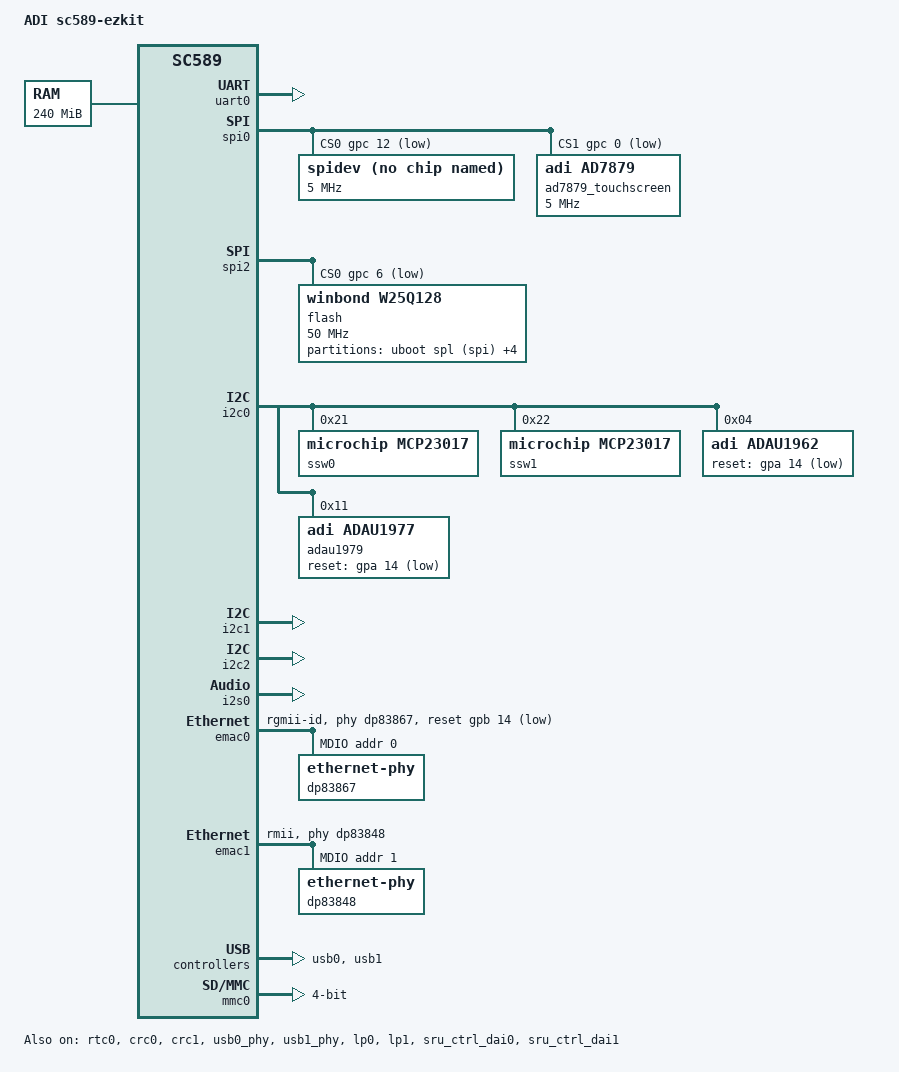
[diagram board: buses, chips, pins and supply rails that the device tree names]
/*
 * Device tree for ADI sc589-ezkit board
 *
 * Copyright 2014 - 2018 Analog Devices Inc.
 *
 * Licensed under the GPL-2 or later.
 *
 */

/dts-v1/;

#include <dt-bindings/gpio/gpio.h>
#include <dt-bindings/net/ti-dp83867.h>
#include <dt-bindings/pinctrl/adi-adsp.h>
#include <dt-bindings/pinctrl/adi-adsp-sru.h>
#include "sc58x.dtsi"

/ {
	model = "ADI sc589-ezkit";
	compatible = "adi,sc589-ezkit", "adi,sc58x";

	aliases {
	};

	memory@C3000000 {
		device_type = "memory";
		reg = <0xC3000000 0xF000000>;
	};

	reserved-memory {
		vdev0vrings: vdev0vring0@200A0000 {
			reg = <0x200A0000 0x4000>;
			no-map;
		};

		vdev0buffer: vdev0buffer@200A4000 {
			compatible = "shared-dma-pool";
			reg = <0x200A4000 0xC000>;
			no-map;
		};

		vdev1vrings: vdev0vring0@200B0000 {
			reg = <0x200B0000 0x4000>;
			no-map;
		};

		vdev1buffer: vdev0buffer@200B4000 {
			compatible = "shared-dma-pool";
			reg = <0x200B4000 0xC000>;
			no-map;
		};
	};

	scb {
		button0: button@0 {
			compatible = "adi,button-led";
			button_gpio = <80>;
			led_gpio = <77>;
		};

		button1: button@1 {
			compatible = "adi,button-led";
			button_gpio = <81>;
			led_gpio = <78>;
		};

		core1-rproc@0x28240000 {
			compatible = "adi,remoteproc";
			reg = <0x28240000 0x160000>,
					<0x20080000 0x40000>;
			core-id = <1>;
			core-irq = <76>;
			firmware-name = "adi_adsp_core1_fw.ldr";
			interrupts = <GIC_SPI 251 IRQ_TYPE_EDGE_RISING>;
			adi,rcu = <&rcu>;
			adi,l1-da = <0x240000 0x3a0000>;
			adi,l2-da = <0x20080000 0x200C0000>;
			adi,rsc-table = <&rsc_tbl0>;
			adi,tru = <&tru>;
			adi,tru-master-id = <97>; /* trigger master SOFT4 */
		};

		core2-rproc@0x28a40000 {
			compatible = "adi,remoteproc";
			reg = <0x28a40000 0x160000>,
					<0x20080000 0x40000>;
			core-id = <2>;
			core-irq = <77>;
			firmware-name = "adi_adsp_core2_fw.ldr";
			interrupts = <GIC_SPI 251 IRQ_TYPE_EDGE_RISING>;
			adi,rcu = <&rcu>;
			adi,l1-da = <0x240000 0x3a0000>;
			adi,l2-da = <0x20080000 0x200C0000>;
			adi,rsc-table = <&rsc_tbl1>;
			adi,tru = <&tru>;
			adi,tru-master-id = <98>; /* trigger master SOFT5 */
		};

		sound {
			compatible = "adi,sc5xx-asoc-card";
			adi,cpu-dai = <&i2s0>;
			adi,codec = <&adau1962>, <&adau1979>;
		};

	};
};

&uart0 {
	pinctrl-names = "default";
	pinctrl-0 = <&uart0_default>;
	status = "okay";
};

&rtc0 {
	status = "okay";
};

&spi0 {
	pinctrl-names = "default";
	pinctrl-0 = <&spi0_default>;
	status = "okay";

	cs-gpios = <&gpc 12 GPIO_ACTIVE_LOW>,
				<&gpc 0 GPIO_ACTIVE_LOW>;

	spidev@0 {
		#address-cells = <1>;
		#size-cells = <1>;
		compatible = "rohm,dh2228fv";
		spi-max-frequency = <5000000>;
		reg = <0>;
	};

	ad7879_touchscreen@1 {
		#address-cells = <1>;
		#size-cells = <1>;
		compatible = "adi,ad7879";
		spi-max-frequency = <5000000>;
		reg = <1>;
		gpio = <88>;
		gpio-controller;
		spi-cpha;
		spi-cpol;
		touchscreen-max-pressure = <10000>;
		adi,resistance-plate-x = <620>;
		adi,first-conversion-delay = /bits/ 8 <3>;
		adi,acquisition-time = /bits/ 8 <1>;
		adi,median-filter-size = /bits/ 8 <2>;
		adi,averaging = /bits/ 8 <1>;
		adi,conversion-interval = /bits/ 8 <255>;
	};
};

&spi2 {
	pinctrl-names = "default";
	pinctrl-0 = <&spi2_quad>;
	status = "okay";
	cs-gpios = <&gpc 6 GPIO_ACTIVE_LOW>;

	flash: w25q128@0 {
		#address-cells = <1>;
		#size-cells = <1>;
		compatible = "winbond,w25q128";
		spi-max-frequency = <50000000>;
		reg = <0>;
		spi-cpol;
		spi-cpha;
		spi-tx-bus-width = <4>;
		spi-rx-bus-width = <4>;

		partition@0 {
			label = "uboot spl (spi)";
			reg = <0x0 0x20000>;
		};

		partition@1 {
			label = "uboot proper (spi)";
			reg = <0x20000 0xb0000>;
		};

		partition@2 {
			label = "uboot env";
			reg = <0xd0000 0x10000>;
		};

		partition@3 {
			label = "kernel (spi)";
			reg = <0x00e0000 0x0600000>;
		};

		partition@4 {
			label = "root file system (spi)";
			reg = <0x06e0000 0x0920000>;
		};
	};
};

&i2c0 {
	status = "okay";
	ssw0: gpio@0x21 {
		compatible = "microchip,mcp23017";
		gpio-controller;
		#gpio-cells = <2>;
		reg = <0x21>;

		eeprom {
			gpio-hog;
			gpios = <0 0x0>;
			output-high;
			line-name = "~eeprom-en";
		};

		uart0-flow-en {
			gpio-hog;
			gpios = <1 0x0>;
			output-high;
			line-name = "~uart0-flow-en";
		};

		uart0-en {
			gpio-hog;
			gpios = <2 0x0>;
			output-low;
			line-name = "~uart0-en";
		};

		eth0 {
			gpio-hog;
			gpios = <3 0x0>;
			output-low;
			line-name = "~eth0-en";
		};

		eth1 {
			gpio-hog;
			gpios = <4 0x0>;
			output-low;
			line-name = "~eth1-en";
		};

		mlb {
			gpio-hog;
			gpios = <5 0x0>;
			output-high;
			line-name = "~mlb-en";
		};

		can0 {
			gpio-hog;
			gpios = <6 0x0>;
			output-high;
			line-name = "~can0-en";
		};

		can1 {
			gpio-hog;
			gpios = <7 0x0>;
			output-high;
			line-name = "~can1-en";
		};

		adau1962 {
			gpio-hog;
			gpios = <8 0x0>;
			output-low;
			line-name = "~adau1962-en";
		};

		adau1979 {
			gpio-hog;
			gpios = <9 0x0>;
			output-low;
			line-name = "~adau1979-en";
		};

		sd_wp {
			gpio-hog;
			gpios = <11 0x0>;
			output-high;
			line-name = "~sd-wp-en";
		};

		spi2d2-d3 {
			gpio-hog;
			gpios = <12 0x0>;
			output-low;
			line-name = "~spi2d2-d3-en";
		};

		spi2flash-cs {
			gpio-hog;
			gpios = <13 0x0>;
			output-low;
			line-name = "~spi2flash-cs";
		};

		spdif-opt {
			gpio-hog;
			gpios = <14 0x0>;
			output-high;
			line-name = "~spdif-optical-en";
		};

		spdif-dig {
			gpio-hog;
			gpios = <15 0x0>;
			output-high;
			line-name = "~spdif-digital-en";
		};
	};

	ssw1: gpio@0x22 {
		compatible = "microchip,mcp23017";
		gpio-controller;
		#gpio-cells = <2>;
		reg = <0x22>;

		pushbutton1 {
			gpio-hog;
			gpios = <0 0x0>;
			output-low;
			line-name = "~pushbutton1-en";
		};

		pushbutton2 {
			gpio-hog;
			gpios = <1 0x0>;
			output-low;
			line-name = "~pushbutton2-en";
		};

		led10 {
			gpio-hog;
			gpios = <2 0x0>;
			output-low;
			line-name = "~led10-en";
		};

		led11 {
			gpio-hog;
			gpios = <3 0x0>;
			output-low;
			line-name = "~led11-en";
		};

		led12 {
			gpio-hog;
			gpios = <4 0x0>;
			output-low;
			line-name = "~led12-en";
		};
	};

	/*
	   ADAU1962 and ADAU1977 race to use gpa_14, as it is shared.
	   Whoever probes first will claim the GPIO and perform the
	   reset.  The respective drivers have duplicated logic for
	   reset_gpio -- so that whichever starts first can reset the
	   devices
	*/
	adau1962: adau1962@0x4 {
		compatible = "adi,adau1962";
		reg = <0x4>;
		reset-gpios = <&gpa 14 1>;
	};

	adau1979: adau1979@0x11 {
		compatible = "adi,adau1977";
		reg = <0x11>;
		reset-gpios = <&gpa 14 1>;
	};
};

&i2c1 {
	status = "okay";
};

&i2c2 {
	status = "okay";
};

&i2s0 {
	pinctrl-names = "default";
	pinctrl-0 = <&sru_dai1>;
	status = "okay";
};

&crc0 {
	status = "okay";
};

&crc1 {
	status = "okay";
};

&can0 {
	pinctrl-names = "default";
	pinctrl-0 = <&can0_default>;
	phy-name = "tja1055";
	phy-gpios = <&gpb 8 0>,		/* en PB8 */
		    <&gpb 2 0x1>;	/* stb PB2, GPIO_ACTIVE_LOW */
	status = "disabled";
};

&can1 {
	pinctrl-names = "default";
	pinctrl-0 = <&can1_default>;
	phy-name = "tja1145";
	phy-spibus = /bits/ 16 <0>;
	phy-spiclk = <1000000>;
	phy-spics = /bits/ 16 <44>;	/* GPIO_PC12 */
	status = "disabled";
};

&emac0 {
	snps,reset-gpio = <&gpb 14 0>;
	snps,reset-active-low;
	snps,reset-delays-us = <0 200 500>;
	phy-handle = <&dp83867>;
	phy-mode = "rgmii-id";
	pinctrl-names = "default";
	pinctrl-0 = <&eth0_default>;
	status = "okay";
	mdio0 {
		compatible = "snps,dwmac-mdio";
		#address-cells = <1>;
		#size-cells = <0>;
		dp83867: ethernet-phy@0 {
			reg = <0>;
			ti,rx-internal-delay = <DP83867_RGMIIDCTL_2_00_NS>;
			ti,tx-internal-delay = <DP83867_RGMIIDCTL_2_00_NS>;
			ti,fifo-depth = <DP83867_PHYCR_FIFO_DEPTH_8_B_NIB>;
			ti,dp83867-rxctrl-strap-quirk;
		};
	};
};

&emac1 {
	phy-handle = <&dp83848>;
	phy-mode = "rmii";
	pinctrl-names = "default";
	pinctrl-0 = <&eth1_default>;
	status = "okay";

	mdio1 {
		compatible = "snps,dwmac-mdio";
		#address-cells = <1>;
		#size-cells = <0>;
		dp83848: ethernet-phy@1 {
			reg = <1>;
		};
	};

};

&usb0_phy {
	status = "okay";
};

&usb0 {
	/* mode = <2>; Place OTG port into Device Mode */
	/* mode = <1>; Place OTG port into Host Mode */
	mode = <1>;
	status = "okay";
};

&usb1_phy {
	status = "okay";
};

&usb1 {
	mode = <2>; /* Device port */
	status = "okay";
};

&mmc0 {
	/* Do not use wp-en-pin, as this causes a conflict between PC15+ETH0_MD_INT+SD_WP */
	/* wp-en-pin = <&ssw0 11 GPIO_ACTIVE_LOW>;	 SD_WP_EN */
	bus-width = <4>;
	pinctrl-names = "default";
	pinctrl-0 = <&mmc0_8bgrp>;
	supports-highspeed;
	status = "okay";
};

/*
&video_decoder {
	pinctrl-names = "8bit", "16bit", "24bit";
	pinctrl-0 = <&ppi0_8b>;
	pinctrl-1 = <&ppi0_16b>;
	pinctrl-2 = <&ppi0_24b>;
	status = "okay";
};

&video_encoder {
	pinctrl-names = "8bit", "16bit", "24bit";
	pinctrl-0 = <&ppi0_8b>;
	pinctrl-1 = <&ppi0_16b>;
	pinctrl-2 = <&ppi0_24b>;
	status = "okay";
};
*/

&lp0 {
	pinctrl-names = "default";
	pinctrl-0 = <&lp0_default>;
	status = "okay";
};

&lp1 {
	pinctrl-names = "default";
	pinctrl-0 = <&lp1_default>;
	status = "okay";
};

&sram_mmap {
	status = "okay";
};

&pinctrl0 {
	uart0_default: uart0_default_pins {
		pins {
			pinmux = <ADI_ADSP_PINMUX('C', 13, ADI_ADSP_PINFUNC_ALT0)>,
					 <ADI_ADSP_PINMUX('C', 14, ADI_ADSP_PINFUNC_ALT0)>;
		};
	};
	uart0_hwflow: uart0_hwflow_pins {
		pins {
			pinmux = <ADI_ADSP_PINMUX('C', 13, ADI_ADSP_PINFUNC_ALT0)>,
					 <ADI_ADSP_PINMUX('C', 14, ADI_ADSP_PINFUNC_ALT0)>,
					 <ADI_ADSP_PINMUX('C', 15, ADI_ADSP_PINFUNC_ALT0)>,
					 <ADI_ADSP_PINMUX('D', 0, ADI_ADSP_PINFUNC_ALT0)>;
		};
	};
	spi0_default: spi0_default_pins {
		pins {
			pinmux = <ADI_ADSP_PINMUX('C', 9, ADI_ADSP_PINFUNC_ALT0)>,
				 <ADI_ADSP_PINMUX('C', 10, ADI_ADSP_PINFUNC_ALT0)>,
					 <ADI_ADSP_PINMUX('C', 11, ADI_ADSP_PINFUNC_ALT0)>;
		};
	};
	spi1_default: spi1_default_pins {
		pins {
			pinmux = <ADI_ADSP_PINMUX('E', 13, ADI_ADSP_PINFUNC_ALT0)>,
				 <ADI_ADSP_PINMUX('E', 14, ADI_ADSP_PINFUNC_ALT0)>,
					 <ADI_ADSP_PINMUX('E', 15, ADI_ADSP_PINFUNC_ALT0)>;
		};
	};
	spi2_quad: spi2_quad_pins {
		pins {
			pinmux = <ADI_ADSP_PINMUX('C', 1, ADI_ADSP_PINFUNC_ALT0)>,
				 <ADI_ADSP_PINMUX('C', 2, ADI_ADSP_PINFUNC_ALT0)>,
				 <ADI_ADSP_PINMUX('C', 3, ADI_ADSP_PINFUNC_ALT0)>,
				 <ADI_ADSP_PINMUX('C', 4, ADI_ADSP_PINFUNC_ALT0)>,
				 <ADI_ADSP_PINMUX('C', 5, ADI_ADSP_PINFUNC_ALT0)>;
		};
	};
	eth0_default: eth0_default_pins {
		pins {
			pinmux = <ADI_ADSP_PINMUX('A', 0, ADI_ADSP_PINFUNC_ALT0)>,
				 <ADI_ADSP_PINMUX('A', 1, ADI_ADSP_PINFUNC_ALT0)>,
				 <ADI_ADSP_PINMUX('A', 2, ADI_ADSP_PINFUNC_ALT0)>,
				 <ADI_ADSP_PINMUX('A', 3, ADI_ADSP_PINFUNC_ALT0)>,
				 <ADI_ADSP_PINMUX('A', 4, ADI_ADSP_PINFUNC_ALT0)>,
				 <ADI_ADSP_PINMUX('A', 5, ADI_ADSP_PINFUNC_ALT0)>,
				 <ADI_ADSP_PINMUX('A', 6, ADI_ADSP_PINFUNC_ALT0)>,
				 <ADI_ADSP_PINMUX('A', 7, ADI_ADSP_PINFUNC_ALT0)>,
				 <ADI_ADSP_PINMUX('A', 8, ADI_ADSP_PINFUNC_ALT0)>,
				 <ADI_ADSP_PINMUX('A', 9, ADI_ADSP_PINFUNC_ALT0)>,
				 <ADI_ADSP_PINMUX('A', 10, ADI_ADSP_PINFUNC_ALT0)>,
				 <ADI_ADSP_PINMUX('A', 11, ADI_ADSP_PINFUNC_ALT0)>,
				 <ADI_ADSP_PINMUX('A', 12, ADI_ADSP_PINFUNC_ALT0)>,
				 <ADI_ADSP_PINMUX('A', 13, ADI_ADSP_PINFUNC_ALT0)>;
		};
	};
	mmc0_8bgrp: mmc0_8bgrp_pins {
		pins {
			pinmux = <ADI_ADSP_PINMUX('F', 2, ADI_ADSP_PINFUNC_ALT0)>,
				 <ADI_ADSP_PINMUX('F', 3, ADI_ADSP_PINFUNC_ALT0)>,
				 <ADI_ADSP_PINMUX('F', 4, ADI_ADSP_PINFUNC_ALT0)>,
				 <ADI_ADSP_PINMUX('F', 5, ADI_ADSP_PINFUNC_ALT0)>,
				 <ADI_ADSP_PINMUX('F', 6, ADI_ADSP_PINFUNC_ALT0)>,
					 <ADI_ADSP_PINMUX('F', 7, ADI_ADSP_PINFUNC_ALT0)>,
					 <ADI_ADSP_PINMUX('F', 8, ADI_ADSP_PINFUNC_ALT0)>,
					 <ADI_ADSP_PINMUX('F', 9, ADI_ADSP_PINFUNC_ALT0)>,
					 <ADI_ADSP_PINMUX('F', 10, ADI_ADSP_PINFUNC_ALT0)>,
					 <ADI_ADSP_PINMUX('F', 11, ADI_ADSP_PINFUNC_ALT0)>,
					 <ADI_ADSP_PINMUX('F', 12, ADI_ADSP_PINFUNC_ALT0)>;
		};
	};
	ppi0_8b: ppi0_8b_pins {
		pins {
			pinmux = <ADI_ADSP_PINMUX('E', 1, ADI_ADSP_PINFUNC_ALT0)>,
				 <ADI_ADSP_PINMUX('E', 2, ADI_ADSP_PINFUNC_ALT0)>,
				 <ADI_ADSP_PINMUX('E', 3, ADI_ADSP_PINFUNC_ALT0)>,
				 <ADI_ADSP_PINMUX('C', 15, ADI_ADSP_PINFUNC_ALT1)>,
				 <ADI_ADSP_PINMUX('E', 12, ADI_ADSP_PINFUNC_ALT0)>,
				 <ADI_ADSP_PINMUX('E', 11, ADI_ADSP_PINFUNC_ALT0)>,
				 <ADI_ADSP_PINMUX('E', 10, ADI_ADSP_PINFUNC_ALT0)>,
				 <ADI_ADSP_PINMUX('E', 9, ADI_ADSP_PINFUNC_ALT0)>,
				 <ADI_ADSP_PINMUX('E', 8, ADI_ADSP_PINFUNC_ALT0)>,
				 <ADI_ADSP_PINMUX('E', 7, ADI_ADSP_PINFUNC_ALT0)>,
				 <ADI_ADSP_PINMUX('E', 6, ADI_ADSP_PINFUNC_ALT0)>,
				 <ADI_ADSP_PINMUX('E', 5, ADI_ADSP_PINFUNC_ALT0)>;
		};
	};
	ppi0_16b: ppi0_16b_pins {
		pins {
			pinmux = <ADI_ADSP_PINMUX('E', 1, ADI_ADSP_PINFUNC_ALT0)>,
				 <ADI_ADSP_PINMUX('E', 2, ADI_ADSP_PINFUNC_ALT0)>,
				 <ADI_ADSP_PINMUX('E', 3, ADI_ADSP_PINFUNC_ALT0)>,
				 <ADI_ADSP_PINMUX('C', 15, ADI_ADSP_PINFUNC_ALT1)>,
				 <ADI_ADSP_PINMUX('E', 12, ADI_ADSP_PINFUNC_ALT0)>,
				 <ADI_ADSP_PINMUX('E', 11, ADI_ADSP_PINFUNC_ALT0)>,
				 <ADI_ADSP_PINMUX('E', 10, ADI_ADSP_PINFUNC_ALT0)>,
				 <ADI_ADSP_PINMUX('E', 9, ADI_ADSP_PINFUNC_ALT0)>,
				 <ADI_ADSP_PINMUX('E', 8, ADI_ADSP_PINFUNC_ALT0)>,
				 <ADI_ADSP_PINMUX('E', 7, ADI_ADSP_PINFUNC_ALT0)>,
				 <ADI_ADSP_PINMUX('E', 6, ADI_ADSP_PINFUNC_ALT0)>,
				 <ADI_ADSP_PINMUX('E', 5, ADI_ADSP_PINFUNC_ALT0)>,
				 <ADI_ADSP_PINMUX('E', 4, ADI_ADSP_PINFUNC_ALT0)>,
				 <ADI_ADSP_PINMUX('E', 0, ADI_ADSP_PINFUNC_ALT0)>,
				 <ADI_ADSP_PINMUX('D', 15, ADI_ADSP_PINFUNC_ALT0)>,
				 <ADI_ADSP_PINMUX('D', 14, ADI_ADSP_PINFUNC_ALT0)>,
				 <ADI_ADSP_PINMUX('B', 4, ADI_ADSP_PINFUNC_ALT2)>,
				 <ADI_ADSP_PINMUX('B', 5, ADI_ADSP_PINFUNC_ALT2)>,
				 <ADI_ADSP_PINMUX('B', 0, ADI_ADSP_PINFUNC_ALT2)>,
				 <ADI_ADSP_PINMUX('B', 1, ADI_ADSP_PINFUNC_ALT2)>;
		};
	};
	ppi0_24b: ppi0_24b_pins {
		pins {
			pinmux = <ADI_ADSP_PINMUX('E', 1, ADI_ADSP_PINFUNC_ALT0)>,
				 <ADI_ADSP_PINMUX('E', 2, ADI_ADSP_PINFUNC_ALT0)>,
				 <ADI_ADSP_PINMUX('E', 3, ADI_ADSP_PINFUNC_ALT0)>,
				 <ADI_ADSP_PINMUX('C', 15, ADI_ADSP_PINFUNC_ALT1)>,
				 <ADI_ADSP_PINMUX('E', 12, ADI_ADSP_PINFUNC_ALT0)>,
				 <ADI_ADSP_PINMUX('E', 11, ADI_ADSP_PINFUNC_ALT0)>,
				 <ADI_ADSP_PINMUX('E', 10, ADI_ADSP_PINFUNC_ALT0)>,
				 <ADI_ADSP_PINMUX('E', 9, ADI_ADSP_PINFUNC_ALT0)>,
				 <ADI_ADSP_PINMUX('E', 8, ADI_ADSP_PINFUNC_ALT0)>,
				 <ADI_ADSP_PINMUX('E', 7, ADI_ADSP_PINFUNC_ALT0)>,
				 <ADI_ADSP_PINMUX('E', 6, ADI_ADSP_PINFUNC_ALT0)>,
				 <ADI_ADSP_PINMUX('E', 5, ADI_ADSP_PINFUNC_ALT0)>,
				 <ADI_ADSP_PINMUX('E', 4, ADI_ADSP_PINFUNC_ALT0)>,
				 <ADI_ADSP_PINMUX('E', 0, ADI_ADSP_PINFUNC_ALT0)>,
				 <ADI_ADSP_PINMUX('D', 15, ADI_ADSP_PINFUNC_ALT0)>,
				 <ADI_ADSP_PINMUX('D', 14, ADI_ADSP_PINFUNC_ALT0)>,
				 <ADI_ADSP_PINMUX('B', 4, ADI_ADSP_PINFUNC_ALT2)>,
				 <ADI_ADSP_PINMUX('B', 5, ADI_ADSP_PINFUNC_ALT2)>,
				 <ADI_ADSP_PINMUX('B', 0, ADI_ADSP_PINFUNC_ALT2)>,
				 <ADI_ADSP_PINMUX('B', 1, ADI_ADSP_PINFUNC_ALT2)>,
				 <ADI_ADSP_PINMUX('B', 2, ADI_ADSP_PINFUNC_ALT2)>,
				 <ADI_ADSP_PINMUX('B', 3, ADI_ADSP_PINFUNC_ALT2)>,
				 <ADI_ADSP_PINMUX('D', 13, ADI_ADSP_PINFUNC_ALT2)>,
				 <ADI_ADSP_PINMUX('D', 12, ADI_ADSP_PINFUNC_ALT2)>,
				 <ADI_ADSP_PINMUX('E', 13, ADI_ADSP_PINFUNC_ALT2)>,
				 <ADI_ADSP_PINMUX('E', 14, ADI_ADSP_PINFUNC_ALT2)>,
				 <ADI_ADSP_PINMUX('E', 15, ADI_ADSP_PINFUNC_ALT2)>,
				 <ADI_ADSP_PINMUX('D', 0, ADI_ADSP_PINFUNC_ALT1)>;
		};
	};
	lp0_default: lp0_default_pins {
		pins {
			pinmux = <ADI_ADSP_PINMUX('D', 2, ADI_ADSP_PINFUNC_ALT0)>,
				 <ADI_ADSP_PINMUX('D', 3, ADI_ADSP_PINFUNC_ALT0)>,
				 <ADI_ADSP_PINMUX('D', 4, ADI_ADSP_PINFUNC_ALT0)>,
				 <ADI_ADSP_PINMUX('D', 5, ADI_ADSP_PINFUNC_ALT0)>,
				 <ADI_ADSP_PINMUX('D', 6, ADI_ADSP_PINFUNC_ALT0)>,
				 <ADI_ADSP_PINMUX('D', 7, ADI_ADSP_PINFUNC_ALT0)>,
				 <ADI_ADSP_PINMUX('D', 8, ADI_ADSP_PINFUNC_ALT0)>,
				 <ADI_ADSP_PINMUX('D', 9, ADI_ADSP_PINFUNC_ALT0)>,
				 <ADI_ADSP_PINMUX('D', 10, ADI_ADSP_PINFUNC_ALT0)>,
				 <ADI_ADSP_PINMUX('D', 11, ADI_ADSP_PINFUNC_ALT0)>;
		};
	};
	lp1_default: lp1_default_pins {
		pins {
			pinmux = <ADI_ADSP_PINMUX('B', 7, ADI_ADSP_PINFUNC_ALT0)>,
				 <ADI_ADSP_PINMUX('B', 8, ADI_ADSP_PINFUNC_ALT0)>,
				 <ADI_ADSP_PINMUX('B', 9, ADI_ADSP_PINFUNC_ALT0)>,
				 <ADI_ADSP_PINMUX('B', 10, ADI_ADSP_PINFUNC_ALT0)>,
				 <ADI_ADSP_PINMUX('B', 11, ADI_ADSP_PINFUNC_ALT0)>,
				 <ADI_ADSP_PINMUX('B', 12, ADI_ADSP_PINFUNC_ALT0)>,
				 <ADI_ADSP_PINMUX('B', 13, ADI_ADSP_PINFUNC_ALT0)>,
				 <ADI_ADSP_PINMUX('B', 14, ADI_ADSP_PINFUNC_ALT0)>,
				 <ADI_ADSP_PINMUX('C', 0, ADI_ADSP_PINFUNC_ALT0)>,
				 <ADI_ADSP_PINMUX('B', 15, ADI_ADSP_PINFUNC_ALT0)>;
		};
	};
	eth1_default: eth1_default_pins {
		pins {
			pinmux = <ADI_ADSP_PINMUX('F', 13, ADI_ADSP_PINFUNC_ALT0)>,
				 <ADI_ADSP_PINMUX('F', 14, ADI_ADSP_PINFUNC_ALT0)>,
				 <ADI_ADSP_PINMUX('F', 15, ADI_ADSP_PINFUNC_ALT0)>,
				 <ADI_ADSP_PINMUX('G', 0, ADI_ADSP_PINFUNC_ALT0)>,
				 <ADI_ADSP_PINMUX('G', 1, ADI_ADSP_PINFUNC_ALT0)>,
				 <ADI_ADSP_PINMUX('G', 2, ADI_ADSP_PINFUNC_ALT0)>,
				 <ADI_ADSP_PINMUX('G', 3, ADI_ADSP_PINFUNC_ALT0)>,
				 <ADI_ADSP_PINMUX('G', 4, ADI_ADSP_PINFUNC_ALT0)>,
				 <ADI_ADSP_PINMUX('G', 5, ADI_ADSP_PINFUNC_ALT0)>;
		};
	};
	can0_default: can0_default_pins {
		pins {
			pinmux = <ADI_ADSP_PINMUX('C', 7, ADI_ADSP_PINFUNC_ALT0)>,
				 <ADI_ADSP_PINMUX('C', 8, ADI_ADSP_PINFUNC_ALT0)>;
		};
	};
	can1_default: can1_default_pins {
		pins {
			pinmux = <ADI_ADSP_PINMUX('B', 10, ADI_ADSP_PINFUNC_ALT2)>,
				 <ADI_ADSP_PINMUX('B', 9, ADI_ADSP_PINFUNC_ALT2)>;
		};
	};
};

&sru_ctrl_dai0 {
	status = "okay";
};

&sru_ctrl_dai1 {
	status = "okay";

	sru_dai1: sru_dai1_mux {
		route {
			sru-routing =
				<DAI1_LOW_F          DAI1_PBEN02_I>,  /* set DAI1_PIN02 to input */
				<DAI1_PB02_O_ABCDE   SPT4_ACLK_I>,    /* route DAI1_PIN02 to SPT4_ACLK */
				<DAI1_LOW_F          DAI1_PBEN04_I>,  /* set DAI1_PIN04 to input */
				<DAI1_PB04_O_ABCDE   SPT4_AFS_I>,     /* route DAI1_PIN04 to SPT4_AFS */
				<DAI1_HIGH_F         DAI1_PBEN01_I>,  /* set DAI1_PIN01 to output */
				<SPT4_AD0_O_BD       DAI1_PB01_I>,    /* route SPT4_AD0 to DAI1_PIN01 */
				<DAI1_LOW_F          DAI1_PBEN12_I>,  /* set DAI1_PIN12 to input */
				<DAI1_PB12_O_ABCDE   SPT4_BCLK_I>,    /* route DAI1_PIN12 to SPT4_BCLK */
				<DAI1_LOW_F          DAI1_PBEN20_I>,  /* set DAI1_PIN20 to input */
				<DAI1_PB20_O_ABCDE   SPT4_BFS_I>,     /* route DAI1_PIN20 to SPT4_BFS */
				<DAI1_LOW_F          DAI1_PBEN06_I>,  /* set DAI1_PIN06 to input */
				<DAI1_PB06_O_ABCDE   SPT4_BD0_I>;     /* route DAI1_PIN06 to SPT4_BD0 */
		};
	};
};


&tru {
	rpmsg_to_a5: channel@0 {
		adi,tru-master-id = <96>; /* trigger master SOFT3 */
		adi,tru-slave-id = <87>; /* TRU0_IRQ3 */
	};
	rpmsg_to_sharc0: channel@1 {
		adi,tru-master-id = <97>; /* trigger master SOFT4 */
		adi,tru-slave-id = <91>; /* TRU0_IRQ7 */
	};
	rpmsg_to_sharc1: channel@2 {
		adi,tru-master-id = <98>; /* trigger master SOFT5 */
		adi,tru-slave-id = <95>; /* TRU0_IRQ11 */
	};
};
